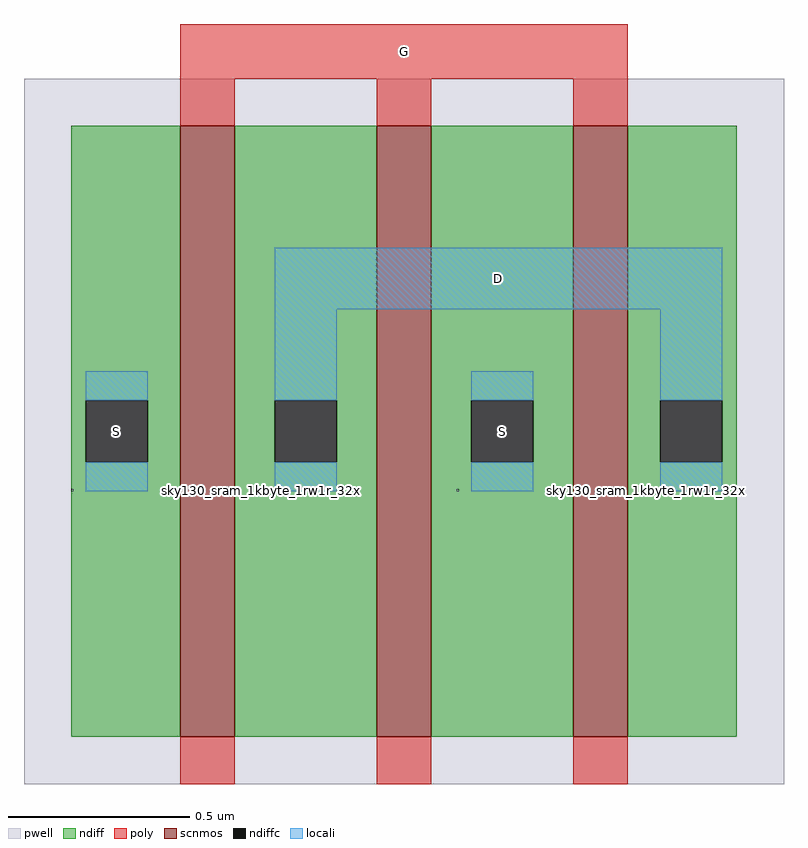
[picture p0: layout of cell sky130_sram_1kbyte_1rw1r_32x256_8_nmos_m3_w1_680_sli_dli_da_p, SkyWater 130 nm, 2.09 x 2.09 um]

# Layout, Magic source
magic
tech sky130A
magscale 1 2
<< pwell >>
rect -26 -26 392 362
<< scnmos >>
rect 60 0 90 336
rect 168 0 198 336
rect 276 0 306 336
<< ndiff >>
rect 0 185 60 336
rect 0 151 8 185
rect 42 151 60 185
rect 0 0 60 151
rect 90 185 168 336
rect 90 151 112 185
rect 146 151 168 185
rect 90 0 168 151
rect 198 185 276 336
rect 198 151 220 185
rect 254 151 276 185
rect 198 0 276 151
rect 306 185 366 336
rect 306 151 324 185
rect 358 151 366 185
rect 306 0 366 151
<< ndiffc >>
rect 8 151 42 185
rect 112 151 146 185
rect 220 151 254 185
rect 324 151 358 185
<< poly >>
rect 60 362 306 392
rect 60 336 90 362
rect 168 336 198 362
rect 276 336 306 362
rect 60 -26 90 0
rect 168 -26 198 0
rect 276 -26 306 0
<< locali >>
rect 112 235 358 269
rect 8 185 42 201
rect 8 135 42 151
rect 112 185 146 235
rect 112 135 146 151
rect 220 185 254 201
rect 220 135 254 151
rect 324 185 358 235
rect 324 135 358 151
use sky130_sram_1kbyte_1rw1r_32x256_8_contact_11  sky130_sram_1kbyte_1rw1r_32x256_8_contact_11_0
transform 1 0 316 0 1 135
box 0 0 1 1
use sky130_sram_1kbyte_1rw1r_32x256_8_contact_11  sky130_sram_1kbyte_1rw1r_32x256_8_contact_11_1
transform 1 0 212 0 1 135
box 0 0 1 1
use sky130_sram_1kbyte_1rw1r_32x256_8_contact_11  sky130_sram_1kbyte_1rw1r_32x256_8_contact_11_2
transform 1 0 104 0 1 135
box 0 0 1 1
use sky130_sram_1kbyte_1rw1r_32x256_8_contact_11  sky130_sram_1kbyte_1rw1r_32x256_8_contact_11_3
transform 1 0 0 0 1 135
box 0 0 1 1
<< labels >>
rlabel locali s 237 168 237 168 4 S
port 1 nsew
rlabel locali s 25 168 25 168 4 S
port 1 nsew
rlabel locali s 235 252 235 252 4 D
port 2 nsew
rlabel poly s 183 377 183 377 4 G
port 3 nsew
<< properties >>
string FIXED_BBOX -25 -26 391 392
string GDS_FILE $PDKPATH/libs.ref/sky130_sram_macros/gds/sky130_sram_1kbyte_1rw1r_32x256_8.gds
string GDS_END 53250
string GDS_START 51942
<< end >>
